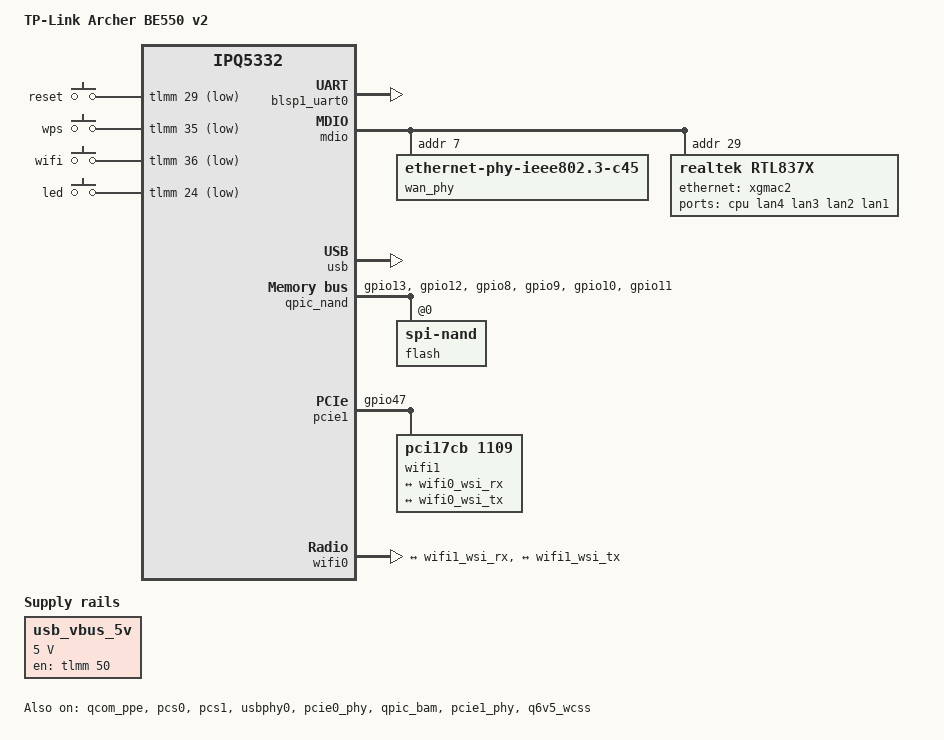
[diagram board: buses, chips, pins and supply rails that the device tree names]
// SPDX-License-Identifier: (GPL-2.0+ OR BSD-3-Clause)
/*
 * TP-Link Archer BE550 v2 (also sold as Archer BE9300 v2)
 *
 * Qualcomm IPQ5332 (AP-MI01.6 reference design), 512 MiB DDR4, 128 MiB
 * SPI-NAND, RTL8372N 4x 2.5G switch on a 10GBASE-R link, RTL8221B 2.5G
 * WAN PHY, IPQ5332 2.4 GHz radio and one dual-MAC QCN9224 (5 + 6 GHz).
 *
 * Values in this file come from the stock 1.3.3 device tree
 * (FIT config "config@BE550_2_0_0") and the stock qca-ssdk RTL8372
 * init sequence unless noted otherwise.
 */

/dts-v1/;

#include <arm64/qcom/ipq5332.dtsi>

#include <dt-bindings/gpio/gpio.h>
#include <dt-bindings/input/input.h>
#include <dt-bindings/clock/qcom,ipq5332-nsscc.h>

/ {
	#address-cells = <0x2>;
	#size-cells = <0x2>;
	model = "TP-Link Archer BE550 v2";
	compatible = "tplink,archer-be550-v2", "qcom,ipq5332";

	aliases {
		serial0 = &blsp1_uart0;
	};

	chosen {
		stdout-path = "serial0:115200n8";
		/*
		 * TP-Link's U-Boot appends "ubi.mtd=rootfs[_1]
		 * root=mtd:ubi_rootfs rootfstype=squashfs"; boot the
		 * OpenWrt "rootfs" volume through ubiblock instead.
		 */
		bootargs-append = " root=/dev/ubiblock0_1";
	};

	/*
	 * Reserved memory below matches the stock device tree exactly
	 * (same layout as the GL-BE9300, which uses the same reference
	 * design).
	 */
	reserved-memory {
		#address-cells = <2>;
		#size-cells = <2>;
		ranges;

		tzapp: tzapp@49b00000 {
			reg = <0x0 0x49b00000 0x0 0x00600000>;
			no-map;
		};

		q6_host_ddr: host-ddr@4b500000 {
			reg = <0x0 0x4b500000 0x0 0x01700000>;
			no-map;
		};

		m3_dump: m3-dump@4cc00000 {
			reg = <0x0 0x4cc00000 0x0 0x100000>;
			no-map;
		};

		q6_etr: q6-etr-dump@4cd00000 {
			reg = <0x0 0x4cd00000 0x0 0x100000>;
			no-map;
		};

		q6_caldb: q6-caldb@4ce00000 {
			reg = <0x0 0x4ce00000 0x0 0x500000>;
			no-map;
		};

		/* keep dmesg across a warm reboot, read it from /sys/fs/pstore */
		ramoops@4da00000 {
			compatible = "ramoops";
			reg = <0x0 0x4da00000 0x0 0x100000>;
			console-size = <0x40000>;
			record-size = <0x20000>;
			pmsg-size = <0x20000>;
		};

		mlo_mem: mlo-global-mem@4db00000 {
			reg = <0x0 0x4db00000 0x0 0x01200000>;
			no-map;
		};

		qcn9274_host_ddr: qcn9274-host-ddr@4ed00000 {
			reg = <0x0 0x4ed00000 0x0 0x03200000>;
			no-map;
		};
	};

	/* USB VBUS, stock "usb_enabled" gpio-led on GPIO 50 */
	usb_vbus_5v: regulator-usb-vbus {
		compatible = "regulator-fixed";
		regulator-name = "usb_vbus_5v";
		regulator-min-microvolt = <5000000>;
		regulator-max-microvolt = <5000000>;
		gpio = <&tlmm 50 GPIO_ACTIVE_HIGH>;
		enable-active-high;
		regulator-boot-on;
		regulator-always-on;
	};

	keys {
		compatible = "gpio-keys";
		pinctrl-0 = <&button_pins>;
		pinctrl-names = "default";

		reset {
			label = "reset";
			linux,code = <KEY_RESTART>;
			gpios = <&tlmm 29 GPIO_ACTIVE_LOW>;
			debounce-interval = <60>;
		};

		wps {
			label = "wps";
			linux,code = <KEY_WPS_BUTTON>;
			gpios = <&tlmm 35 GPIO_ACTIVE_LOW>;
			debounce-interval = <60>;
		};

		wifi {
			label = "wifi";
			linux,code = <KEY_RFKILL>;
			gpios = <&tlmm 36 GPIO_ACTIVE_LOW>;
			debounce-interval = <60>;
		};

		led {
			label = "led";
			linux,code = <KEY_LIGHTS_TOGGLE>;
			gpios = <&tlmm 24 GPIO_ACTIVE_LOW>;
			debounce-interval = <60>;
		};
	};
};

&blsp1_uart0 {
	pinctrl-0 = <&serial_0_pins>;
	pinctrl-names = "default";
	status = "okay";
};

&tlmm {
	button_pins: button-state {
		pins = "gpio24", "gpio29", "gpio35", "gpio36";
		function = "gpio";
		drive-strength = <8>;
		bias-pull-up;
	};

	qspi_nand_pins: qspi-nand-state {
		clock-pins {
			pins = "gpio13";
			function = "qspi_clk";
			drive-strength = <8>;
			bias-pull-down;
		};

		cs-pins {
			pins = "gpio12";
			function = "qspi_cs";
			drive-strength = <8>;
			bias-pull-up;
		};

		data-pins {
			pins = "gpio8", "gpio9", "gpio10", "gpio11";
			function = "qspi_data";
			drive-strength = <8>;
			bias-pull-down;
		};
	};

	/* stock pci1-pinmux: only PERST# is muxed */
	pcie1_default: pcie1-default-state {
		perst-n-pins {
			pins = "gpio47";
			function = "gpio";
			drive-strength = <8>;
			bias-pull-up;
			output-low;
		};
	};
};

/* mdio1_pins (GPIO 27/28) comes from ipq5332.dtsi and matches stock */
&mdio {
	status = "okay";
	pinctrl-0 = <&mdio1_pins>;
	pinctrl-names = "default";
	mdio_clk_fixup;

	/*
	 * Stock lists two PHY reset GPIOs (30 and 39) without saying which
	 * chip each one resets. Both chips come out of TP-Link's U-Boot
	 * already running, so neither GPIO is driven here: a wrong guess
	 * would hold the switch or the PHY in reset.
	 */

	/* RTL8221B 2.5G WAN PHY, stock port_phyinfo port 1 / dp2 */
	wan_phy: ethernet-phy@7 {
		compatible = "ethernet-phy-ieee802.3-c45";
		reg = <7>;
	};

	/*
	 * RTL8372N switch, stock port_phyinfo port 2 / dp1
	 * ("TP_EXT_SWITCH_RTL8372", xfi-mode, forced 10G).
	 *
	 * Stock qca-ssdk rtl8372n_init() sets the RX PN swap on both
	 * SerDes (page 0 reg 0 bit 9, page 6 reg 2 bit 13), but no TX
	 * swap, then writes 0xa90 <- 0xc (MDI reverse) and
	 * 0xa94 <- 0x596a (PHY TX polarity swap). After that it sets
	 * SDS0 to 10GBASE-R with N-way off, CPU port 3.
	 */
	rtl837x: rtl837x-dsa@29 {
		compatible = "realtek,rtl837x";
		#address-cells = <1>;
		#size-cells = <0>;
		reg = <29>;
		rtl837x,sds0mode = "10g-kr";
		gpio-controller;
		#gpio-cells = <2>;

		sds0-rx-swap;
		sds1-rx-swap;
		phy-mdi-reverse;
		phy-tx-polarity-swap;

		ports {
			#address-cells = <1>;
			#size-cells = <0>;

			port@3 {
				reg = <3>;
				label = "cpu";
				ethernet = <&xgmac2>;
				phy-mode = "10gbase-r";

				fixed-link {
					speed = <10000>;
					full-duplex;
				};
			};

			/*
			 * Front-panel order is not in the stock image (it lives
			 * in the per-unit "profile" partition). This is the
			 * Realtek reference order also used by the GL-BE9300;
			 * check it with a cable before relying on the labels.
			 */
			port@4 {
				reg = <4>;
				label = "lan4";
				phy-mode = "internal";
			};

			port@5 {
				reg = <5>;
				label = "lan3";
				phy-mode = "internal";
			};

			port@6 {
				reg = <6>;
				label = "lan2";
				phy-mode = "internal";
			};

			port@7 {
				reg = <7>;
				label = "lan1";
				phy-mode = "internal";
			};
		};
	};
};

&qcom_ppe {
	status = "okay";

	ethernet-ports {
		#address-cells = <1>;
		#size-cells = <0>;

		/* uniphy0, stock switch_mac_mode 0x0c (SGMII+) */
		xgmac1: port@1 {
			reg = <1>;
			phy-mode = "2500base-x";
			label = "wan";
			pcs-handle = <&pcs0_ch0>;
			phy-handle = <&wan_phy>;
			clocks = <&nsscc NSS_CC_PORT1_MAC_CLK>,
				 <&nsscc NSS_CC_PORT1_RX_CLK>,
				 <&nsscc NSS_CC_PORT1_TX_CLK>;
			clock-names = "mac",
				      "rx",
				      "tx";
			resets = <&nsscc NSS_CC_PORT1_MAC_CLK_ARES>,
				 <&nsscc NSS_CC_PORT1_RX_CLK_ARES>,
				 <&nsscc NSS_CC_PORT1_TX_CLK_ARES>;
			reset-names = "mac",
				      "rx",
				      "tx";
		};

		/* uniphy1, stock switch_mac_mode1 0x0d + xfi-mode (10GBASE-R) */
		xgmac2: port@2 {
			reg = <2>;
			phy-mode = "10gbase-r";
			label = "lan";
			pcs-handle = <&pcs1_ch0>;
			clocks = <&nsscc NSS_CC_PORT2_MAC_CLK>,
				 <&nsscc NSS_CC_PORT2_RX_CLK>,
				 <&nsscc NSS_CC_PORT2_TX_CLK>;
			clock-names = "mac",
				      "rx",
				      "tx";
			resets = <&nsscc NSS_CC_PORT2_MAC_CLK_ARES>,
				 <&nsscc NSS_CC_PORT2_RX_CLK_ARES>,
				 <&nsscc NSS_CC_PORT2_TX_CLK_ARES>;
			reset-names = "mac",
				      "rx",
				      "tx";

			fixed-link {
				speed = <10000>;
				full-duplex;
				pause;
			};
		};
	};
};

&pcs0 {
	status = "okay";
};

&pcs1 {
	status = "okay";
};

&usb {
	status = "okay";
};

&usbphy0 {
	status = "okay";
};

/*
 * phy@4b0000 is the shared PCIe/USB3 uniphy. Stock uses it as the USB
 * SuperSpeed PHY ("qca,ipq5332-uni-ssphy") and leaves that PCIe
 * controller disabled, so retarget the node, as on the GL-BE9300.
 */
&pcie0_phy {
	compatible = "qcom,ipq5332-uniphy-usb-ss-phy";

	clocks = <&gcc GCC_PCIE3X1_PHY_AHB_CLK>,
		 <&gcc GCC_USB0_PHY_CFG_AHB_CLK>,
		 <&gcc GCC_USB0_PIPE_CLK>;
	clock-names = "ahb", "cfg_ahb", "pipe";

	resets = <&gcc GCC_USB0_PHY_BCR>;

	vdd-supply = <&usb_vbus_5v>;

	status = "okay";
};

&qpic_bam {
	status = "okay";
};

&qpic_nand {
	pinctrl-0 = <&qspi_nand_pins>;
	pinctrl-names = "default";
	status = "okay";

	flash@0 {
		compatible = "spi-nand";
		reg = <0>;
		#address-cells = <1>;
		#size-cells = <1>;
		nand-ecc-engine = <&qpic_nand>;
		/* stock nandcs@0: 4 bit / 512 B */
		nand-ecc-strength = <4>;
		nand-ecc-step-size = <512>;
		nand-bus-width = <8>;

		partitions {
			compatible = "qcom,smem-part";
		};
	};
};

&pcie1_phy {
	status = "okay";
};

&pcie1 {
	pinctrl-0 = <&pcie1_default>;
	pinctrl-names = "default";

	perst-gpios = <&tlmm 47 GPIO_ACTIVE_LOW>;

	status = "okay";

	pcie@0 {
		/*
		 * Dual-MAC QCN9224: MAC0 = 5 GHz, MAC1 = 6 GHz. Stock CNSS
		 * board_id 0x1019 (bdwlan.b1019), same as the GL-BE9300.
		 */
		wifi1: pcie@0 {
			compatible = "pci17cb,1109";
			reg = <0x00010000 0 0 0 0>;
			memory-region = <&qcn9274_host_ddr>, <&mlo_mem>;
			memory-region-names = "host-ddr-mem", "mlo-global-mem";
			qcom,ath12k-fw-memory-mode = <1>;
			qcom,board-id = <0x1019>;
			qcom,num-radios = <2>;

			ports {
				#address-cells = <1>;
				#size-cells = <0>;

				port@0 {
					reg = <0>;

					wifi1_wsi_tx: endpoint {
						remote-endpoint = <&wifi0_wsi_rx>;
					};
				};

				port@1 {
					reg = <1>;

					wifi1_wsi_rx: endpoint {
						remote-endpoint = <&wifi0_wsi_tx>;
					};
				};
			};
		};
	};
};

&ref_48mhz_clk {
	clock-div = <1>;
	clock-mult = <1>;
};

&sleep_clk {
	clock-frequency = <32000>;
};

&xo_board {
	clock-div = <2>;
	clock-mult = <1>;
};

&xo_clk {
	clock-frequency = <48000000>;
};

/*
 * IPQ5332 2.4 GHz radio. The only stock BDF is bdwlan.b12, i.e. board
 * id 0x12 (18); the stock DT says 0x16. The board-2.bin carries the
 * same data under both ids, and 18 is used here to match the BDF.
 */
&wifi0 {
	firmware-name = "ath12k/IPQ5332/hw1.0/q6_fw1.mdt",
			"ath12k/IPQ5332/hw1.0/iu_fw.mdt";
	memory-region = <&q6_region>, <&q6_host_ddr>, <&m3_dump>, <&q6_caldb>,
			<&mlo_mem>, <&q6_etr>;
	memory-region-names = "q6-region", "host-ddr-mem", "m3-dump", "q6-caldb",
			      "mlo-global-mem", "q6-etr-dump";
	qcom,board-id = <18>;
	qcom,rproc = <&q6v5_wcss>;
	qcom,wsi-controller;
	status = "okay";

	ports {
		#address-cells = <1>;
		#size-cells = <0>;

		port@0 {
			reg = <0>;

			wifi0_wsi_tx: endpoint {
				remote-endpoint = <&wifi1_wsi_rx>;
			};
		};

		port@1 {
			reg = <1>;

			wifi0_wsi_rx: endpoint {
				remote-endpoint = <&wifi1_wsi_tx>;
			};
		};
	};
};

&q6v5_wcss {
	firmware-name = "ath12k/IPQ5332/hw1.0/q6_fw0.mdt";
	/* stock: qcom,bootargs_smem = <0x1fb>, qcom,bootargs_version = <2> */
	qcom,bootargs_smem = <507>;
	qcom,bootargs_version = <2>;
	upd-firmware-names = "ath12k/IPQ5332/hw1.0/q6_fw1.mdt";
	status = "okay";
};

/* stock wcnss@4a900000 is 0x2300000 long, see the GL-BE9300 note */
&q6_region {
	reg = <0x0 0x4a900000 0x0 0x02300000>;
};
